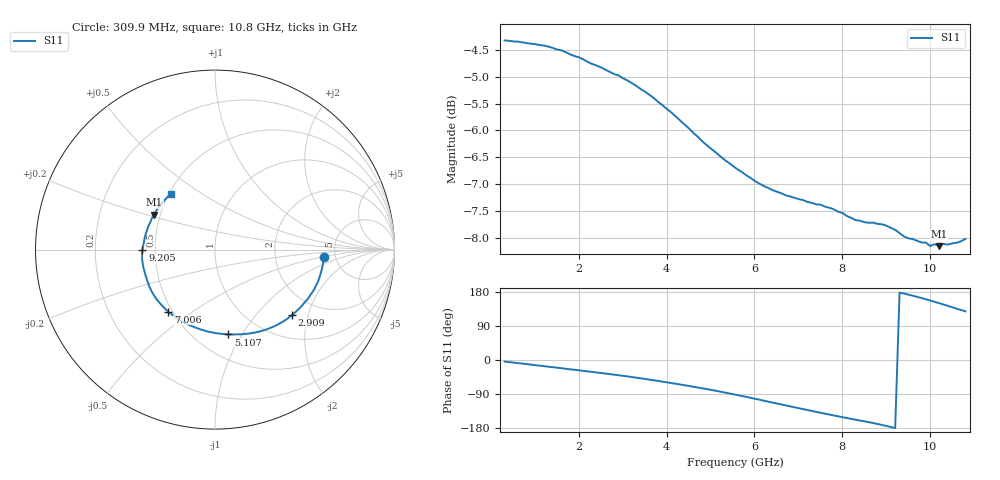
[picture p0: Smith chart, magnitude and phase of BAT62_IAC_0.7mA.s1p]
! Infineon Technologies  Discrete & RF Semiconductors
! BAT62
! IAC = 0.7 mA
! One-Port S-Parameters
# Hz  S  MA  R  50
!f  S11
!Hz  Mag  Ang
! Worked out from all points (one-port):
!   106 points, 309.9 MHz to 10.8 GHz, reference 50 ohm
!   lowest |S11| = -8.2 dB at 10.2 GHz (marker M1), VSWR 2.28, Z = 23.2 + j10.7 ohm
!   |S11| at or under -10 dB: nowhere
!   S11 on the Smith chart (normalised r, x): 309.9 MHz: 4.02, -0.56; 2.909 GHz: 1.49, -1.59; 5.107 GHz: 0.71, -0.88; 7.006 GHz: 0.48, -0.40; 9.205 GHz: 0.42, -0.00; 10.8 GHz: 0.51, +0.38
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3.0985e8  0.6082 -4.1
1.0095e9  0.6034 -13.6
1.4093e9  0.5985 -19.0
1.70915e9  0.5928 -23.2
2.4088e9  0.5762 -32.9
2.90855e9  0.5641 -40.3
3.0085e9  0.5606 -41.8
3.70815e9  0.5373 -53.6
4.30785e9  0.5121 -64.6
4.70765e9  0.4945 -72.5
5.10745e9  0.4785 -81.0
5.6072e9  0.4611 -92.4
5.90705e9  0.4526 -99.6
6.30685e9  0.4431 -109.6
6.90655e9  0.4336 -124.6
7.0065e9  0.4325 -127.1
7.4063e9  0.4275 -137.0
7.6062e9  0.4255 -141.7
8.006e9  0.4198 -151.0
8.2059e9  0.4153 -155.5
8.70565e9  0.411 -166.4
9.0055e9  0.4084 -174.1
9.2054e9  0.4048 -179.6
9.50525e9  0.3975 172.5
9.90505e9  0.3938 160.2
1.02049e10  0.3908 150.0
1.050475e10  0.3931 139.3
1.08046e10  0.397 128.4
